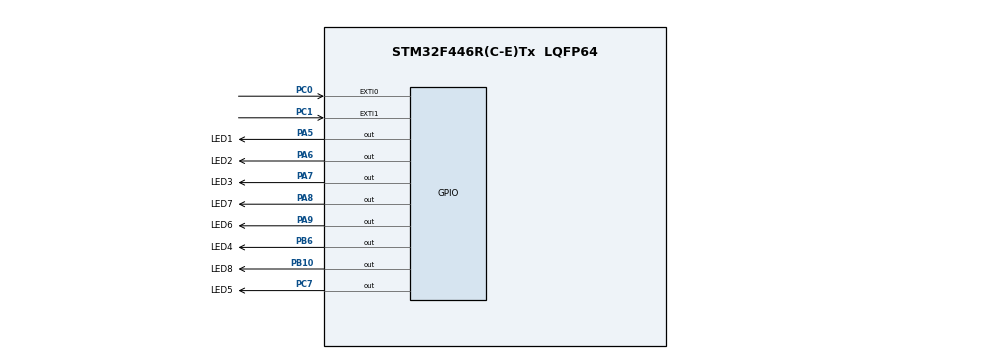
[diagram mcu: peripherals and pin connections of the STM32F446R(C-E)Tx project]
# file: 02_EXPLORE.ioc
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Mcu.Family=STM32F4
Mcu.Name=STM32F446R(C-E)Tx
Mcu.Package=LQFP64
NVIC.EXTI0_IRQn=true\:0\:0\:false\:false\:true\:true\:true\:true
NVIC.EXTI1_IRQn=true\:0\:0\:false\:false\:true\:true\:true\:true
NVIC.PriorityGroup=NVIC_PRIORITYGROUP_4
PA5.GPIO_Label=LED1
PA5.GPIO_ModeDefaultOutputPP=GPIO_MODE_OUTPUT_PP
PA5.GPIO_PuPd=GPIO_PULLUP
PA5.GPIO_Speed=GPIO_SPEED_FREQ_LOW
PA5.PinState=GPIO_PIN_SET
PA5.Signal=GPIO_Output
PA6.GPIO_Label=LED2
PA6.GPIO_ModeDefaultOutputPP=GPIO_MODE_OUTPUT_PP
PA6.GPIO_PuPd=GPIO_PULLUP
PA6.GPIO_Speed=GPIO_SPEED_FREQ_LOW
PA6.PinState=GPIO_PIN_SET
PA6.Signal=GPIO_Output
PA7.GPIO_Label=LED3
PA7.GPIO_ModeDefaultOutputPP=GPIO_MODE_OUTPUT_PP
PA7.GPIO_PuPd=GPIO_PULLUP
PA7.GPIO_Speed=GPIO_SPEED_FREQ_LOW
PA7.PinState=GPIO_PIN_SET
PA7.Signal=GPIO_Output
PA8.GPIO_Label=LED7
PA8.GPIO_ModeDefaultOutputPP=GPIO_MODE_OUTPUT_PP
PA8.GPIO_PuPd=GPIO_PULLUP
PA8.GPIO_Speed=GPIO_SPEED_FREQ_LOW
PA8.PinState=GPIO_PIN_SET
PA8.Signal=GPIO_Output
PA9.GPIO_Label=LED6
PA9.GPIO_ModeDefaultOutputPP=GPIO_MODE_OUTPUT_PP
PA9.GPIO_PuPd=GPIO_PULLUP
PA9.GPIO_Speed=GPIO_SPEED_FREQ_LOW
PA9.PinState=GPIO_PIN_SET
PA9.Signal=GPIO_Output
PB10.GPIO_Label=LED8
PB10.GPIO_ModeDefaultOutputPP=GPIO_MODE_OUTPUT_PP
PB10.GPIO_PuPd=GPIO_PULLUP
PB10.GPIO_Speed=GPIO_SPEED_FREQ_LOW
PB10.PinState=GPIO_PIN_SET
PB10.Signal=GPIO_Output
PB6.GPIO_Label=LED4
PB6.GPIO_ModeDefaultOutputPP=GPIO_MODE_OUTPUT_PP
PB6.GPIO_PuPd=GPIO_PULLUP
PB6.GPIO_Speed=GPIO_SPEED_FREQ_LOW
PB6.PinState=GPIO_PIN_SET
PB6.Signal=GPIO_Output
PC0.GPIO_ModeDefaultEXTI=GPIO_MODE_IT_FALLING
PC0.GPIO_PuPd=GPIO_PULLUP
PC0.Signal=GPXTI0
PC1.GPIO_ModeDefaultEXTI=GPIO_MODE_IT_FALLING
PC1.GPIO_PuPd=GPIO_PULLUP
PC1.Signal=GPXTI1
PC7.GPIO_Label=LED5
PC7.GPIO_ModeDefaultOutputPP=GPIO_MODE_OUTPUT_PP
PC7.GPIO_PuPd=GPIO_PULLUP
PC7.GPIO_Speed=GPIO_SPEED_FREQ_LOW
PC7.PinState=GPIO_PIN_SET
PC7.Signal=GPIO_Output
ProjectManager.HeapSize=0x200
ProjectManager.StackSize=0x400
ProjectManager.TargetToolchain=SW4STM32
RCC.CortexFreq_Value=16000000
RCC.USBFreq_Value=96000000
RCC.VCOOutputFreq_Value=192000000
board=custom

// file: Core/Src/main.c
/* USER CODE BEGIN Header */
/**
  ******************************************************************************
  * @file           : main.c
  * @brief          : Main program body
  ******************************************************************************
  * @attention
  *
  * Copyright (c) 2025 STMicroelectronics.
  * All rights reserved.
  *
  * This software is licensed under terms that can be found in the LICENSE file
  * in the root directory of this software component.
  * If no LICENSE file comes with this software, it is provided AS-IS.
  *
  ******************************************************************************
  */
/* USER CODE END Header */
#include "main.h"

/* USER CODE BEGIN PM */
volatile int8_t direction = 1; // 初始正向
volatile int8_t mode = 0;
volatile int8_t interval_index = 2;
/* USER CODE END PM */

/* USER CODE BEGIN PV */
GPIO_TypeDef* LED_GPIO_Port[8] = {
  LED1_GPIO_Port,LED2_GPIO_Port,LED3_GPIO_Port,LED4_GPIO_Port,
  LED5_GPIO_Port,LED6_GPIO_Port,LED7_GPIO_Port,LED8_GPIO_Port
};

uint16_t LED_Pin[8] = {
  LED1_Pin, LED2_Pin, LED3_Pin,
  LED4_Pin, LED5_Pin, LED6_Pin,
  LED7_Pin, LED8_Pin
};

const uint32_t interval_table[5] = {5000, 3000, 1000, 200, 100};
/* USER CODE END PV */

void SystemClock_Config(void);
static void MX_GPIO_Init(void);

int main(void)
{

  /* MCU Configuration--------------------------------------------------------*/

  /* Reset of all peripherals, Initializes the Flash interface and the Systick. */
  HAL_Init();

  /* Configure the system clock */
  SystemClock_Config();

  /* Initialize all configured peripherals */
  MX_GPIO_Init();
  /* USER CODE BEGIN 2 */
  for (uint8_t i = 0; i < 8; i++)
  {
    HAL_GPIO_WritePin(LED_GPIO_Port[i],LED_Pin[i],GPIO_PIN_RESET);
  }
  uint8_t current_led = 0;
  /* USER CODE END 2 */

  /* Infinite loop */
  while (1)
  {

    /* USER CODE BEGIN 3 */

    if (mode == 0) // 正常流动
    {
      // 点亮当前LED
      HAL_GPIO_WritePin(LED_GPIO_Port[current_led], LED_Pin[current_led], GPIO_PIN_SET);
      HAL_Delay(interval_table[interval_index]); // 按当前设置的间隔流动
      HAL_GPIO_WritePin(LED_GPIO_Port[current_led], LED_Pin[current_led], GPIO_PIN_RESET);
      current_led = (current_led + direction + 8) % 8;
    }
    else if (mode == 1) // 设置模式
    {
      // 点亮前 interval_index + 1 个LED（从LED1开始）
      for (int i = 0; i < 8; i++) {
        if (i <= interval_index) {
          HAL_GPIO_WritePin(LED_GPIO_Port[i], LED_Pin[i], GPIO_PIN_SET); // 点亮
        } else {
          HAL_GPIO_WritePin(LED_GPIO_Port[i], LED_Pin[i], GPIO_PIN_RESET); // 熄灭
        }
      }
      HAL_Delay(200); // 保持一个小延时防止太快闪烁
    }
  }
  /* USER CODE END 3 */
}

void SystemClock_Config(void)
{
  RCC_OscInitTypeDef RCC_OscInitStruct = {0};
  RCC_ClkInitTypeDef RCC_ClkInitStruct = {0};

  /** Configure the main internal regulator output voltage
  */
  __HAL_RCC_PWR_CLK_ENABLE();
  __HAL_PWR_VOLTAGESCALING_CONFIG(PWR_REGULATOR_VOLTAGE_SCALE3);

  /** Initializes the RCC Oscillators according to the specified parameters
  * in the RCC_OscInitTypeDef structure.
  */
  RCC_OscInitStruct.OscillatorType = RCC_OSCILLATORTYPE_HSI;
  RCC_OscInitStruct.HSIState = RCC_HSI_ON;
  RCC_OscInitStruct.HSICalibrationValue = RCC_HSICALIBRATION_DEFAULT;
  RCC_OscInitStruct.PLL.PLLState = RCC_PLL_NONE;
  if (HAL_RCC_OscConfig(&RCC_OscInitStruct) != HAL_OK)
  {
    Error_Handler();
  }

  /** Initializes the CPU, AHB and APB buses clocks
  */
  RCC_ClkInitStruct.ClockType = RCC_CLOCKTYPE_HCLK|RCC_CLOCKTYPE_SYSCLK
                              |RCC_CLOCKTYPE_PCLK1|RCC_CLOCKTYPE_PCLK2;
  RCC_ClkInitStruct.SYSCLKSource = RCC_SYSCLKSOURCE_HSI;
  RCC_ClkInitStruct.AHBCLKDivider = RCC_SYSCLK_DIV1;
  RCC_ClkInitStruct.APB1CLKDivider = RCC_HCLK_DIV1;
  RCC_ClkInitStruct.APB2CLKDivider = RCC_HCLK_DIV1;

  if (HAL_RCC_ClockConfig(&RCC_ClkInitStruct, FLASH_LATENCY_0) != HAL_OK)
  {
    Error_Handler();
  }
}

static void MX_GPIO_Init(void)
{
  GPIO_InitTypeDef GPIO_InitStruct = {0};

  /* GPIO Ports Clock Enable */
  __HAL_RCC_GPIOC_CLK_ENABLE();
  __HAL_RCC_GPIOA_CLK_ENABLE();
  __HAL_RCC_GPIOB_CLK_ENABLE();

  /*Configure GPIO pin Output Level */
  HAL_GPIO_WritePin(GPIOA, GPIO_PIN_5|GPIO_PIN_6|GPIO_PIN_7|GPIO_PIN_8
                          |GPIO_PIN_9, GPIO_PIN_SET);

  /*Configure GPIO pin Output Level */
  HAL_GPIO_WritePin(GPIOB, GPIO_PIN_10|GPIO_PIN_6, GPIO_PIN_SET);

  /*Configure GPIO pin Output Level */
  HAL_GPIO_WritePin(GPIOC, GPIO_PIN_7, GPIO_PIN_SET);

  /*Configure GPIO pins : PC0 PC1 */
  GPIO_InitStruct.Pin = GPIO_PIN_0|GPIO_PIN_1;
  GPIO_InitStruct.Mode = GPIO_MODE_IT_FALLING;
  GPIO_InitStruct.Pull = GPIO_PULLUP;
  HAL_GPIO_Init(GPIOC, &GPIO_InitStruct);

  /*Configure GPIO pins : PA5 PA6 PA7 PA8
                           PA9 */
  GPIO_InitStruct.Pin = GPIO_PIN_5|GPIO_PIN_6|GPIO_PIN_7|GPIO_PIN_8
                          |GPIO_PIN_9;
  GPIO_InitStruct.Mode = GPIO_MODE_OUTPUT_PP;
  GPIO_InitStruct.Pull = GPIO_PULLUP;
  GPIO_InitStruct.Speed = GPIO_SPEED_FREQ_LOW;
  HAL_GPIO_Init(GPIOA, &GPIO_InitStruct);

  /*Configure GPIO pins : PB10 PB6 */
  GPIO_InitStruct.Pin = GPIO_PIN_10|GPIO_PIN_6;
  GPIO_InitStruct.Mode = GPIO_MODE_OUTPUT_PP;
  GPIO_InitStruct.Pull = GPIO_PULLUP;
  GPIO_InitStruct.Speed = GPIO_SPEED_FREQ_LOW;
  HAL_GPIO_Init(GPIOB, &GPIO_InitStruct);

  /*Configure GPIO pin : PC7 */
  GPIO_InitStruct.Pin = GPIO_PIN_7;
  GPIO_InitStruct.Mode = GPIO_MODE_OUTPUT_PP;
  GPIO_InitStruct.Pull = GPIO_PULLUP;
  GPIO_InitStruct.Speed = GPIO_SPEED_FREQ_LOW;
  HAL_GPIO_Init(GPIOC, &GPIO_InitStruct);

  /* EXTI interrupt init*/
  HAL_NVIC_SetPriority(EXTI0_IRQn, 0, 0);
  HAL_NVIC_EnableIRQ(EXTI0_IRQn);

  HAL_NVIC_SetPriority(EXTI1_IRQn, 0, 0);
  HAL_NVIC_EnableIRQ(EXTI1_IRQn);

}

/* USER CODE BEGIN 4 */
void HAL_GPIO_EXTI_Callback(uint16_t GPIO_Pin)
{
  if(GPIO_Pin == GPIO_PIN_0)
  {
    if (mode == 0)
    {
      mode = 1;
    }
    else if (mode == 1)
    {
      mode = 0;
      for (uint8_t i = 0; i < 8; i++)
      {
        HAL_GPIO_WritePin(LED_GPIO_Port[i], LED_Pin[i], GPIO_PIN_RESET);
      }
    }
  }
  else
  {
    if (mode == 1)
    {
      interval_index = (interval_index + 1) % 5;
    }
  }
}
/* USER CODE END 4 */

void Error_Handler(void)
{
  __disable_irq();
  while (1)
  {
  }
}
